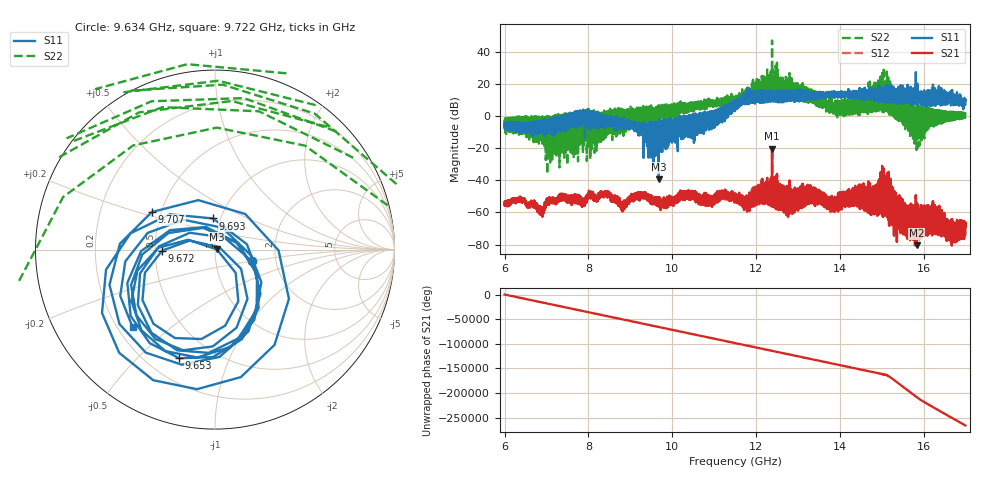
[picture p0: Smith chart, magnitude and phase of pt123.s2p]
#  HZ  S  RI  R  50.00
! Rohde & Schwarz Vector Network Analyzer
! Rohde-Schwarz,ZNA67-2Port,1332450062101215,3.01
! Created: UTC 10/19/2026, 5:02:22 PM
! freq[Hz]  re:S11  im:S11  re:S21  im:S21  re:S12  im:S12  re:S22  im:S22
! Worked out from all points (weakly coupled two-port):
!   11001 points, 6 GHz to 17 GHz, reference 50 ohm
!   highest |S21| = -20.31 dB at 12.38 GHz (marker M1); lowest = -80.4 dB at 15.83 GHz (marker M2)
!   lowest |S11| = -39.4 dB at 9.681 GHz (marker M3), VSWR 1.02, Z = 51.1 + j0.119 ohm
!   |S11| at or under -10 dB: 9.386779 GHz to 9.391454 GHz (4.674 MHz wide, 0.0498 % of centre); 9.398672 GHz to 9.403115 GHz (4.443 MHz wide, 0.0473 % of centre); 9.678999 GHz to 9.683003 GHz (4.004 MHz wide, 0.0414 % of centre) (the widest 3 of 142)
!   |S22| runs from -36.1 to 47.2 dB; largest |S21 - S12| = 0.0048
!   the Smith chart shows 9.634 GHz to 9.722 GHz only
!   S11 on the Smith chart (normalised r, x): 9.634 GHz: 1.50, -0.20; 9.653 GHz: 0.33, -0.67; 9.672 GHz: 0.55, -0.01; 9.693 GHz: 0.92, +0.33; 9.707 GHz: 0.44, +0.22; 9.722 GHz: 0.26, -0.37
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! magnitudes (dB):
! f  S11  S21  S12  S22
! 6 GHz  -5.2  -55.5  -55.5  -2.4
! 6.882 GHz  -3.0  -58.7  -59.0  -2.2
! 7.376 GHz  -2.4  -51.8  -51.5  -0.3
! 7.834 GHz  -4.0  -53.9  -53.8  -12.0
! 8.44 GHz  -3.5  -48.4  -48.3  -6.7
! 8.796 GHz  -2.1  -53.8  -53.5  3.4
! 9.292 GHz  -6.6  -49.9  -49.9  -6.2
! 9.634 GHz  -13.4  -53.9  -54.1  2.5
! 9.653 GHz  -3.9  -54.4  -54.4  -0.2
! 9.667 GHz  -6.9  -55.3  -55.6  -2.6
! 9.672 GHz  -10.6  -50.5  -50.4  4.4
! 9.681 GHz  -39.4  -53.2  -53.4  4.2
! 9.693 GHz  -15.2  -54.7  -54.7  3.5
! 9.707 GHz  -7.8  -52.5  -53.2  5.9
! 9.722 GHz  -4.0  -54.5  -54.7  2.1
! 11.5 GHz  4.3  -52.1  -51.8  9.2
! 12.38 GHz  10.0  -20.3  -20.7  47.2
! 13.33 GHz  11.7  -52.3  -52.0  10.1
! 13.96 GHz  14.4  -49.9  -50.1  8.5
! 15.17 GHz  10.8  -60.8  -60.6  3.2
! 15.83 GHz  10.1  -80.4  -81.0  -21.1
! 17 GHz  9.9  -69.0  -69.6  1.4
